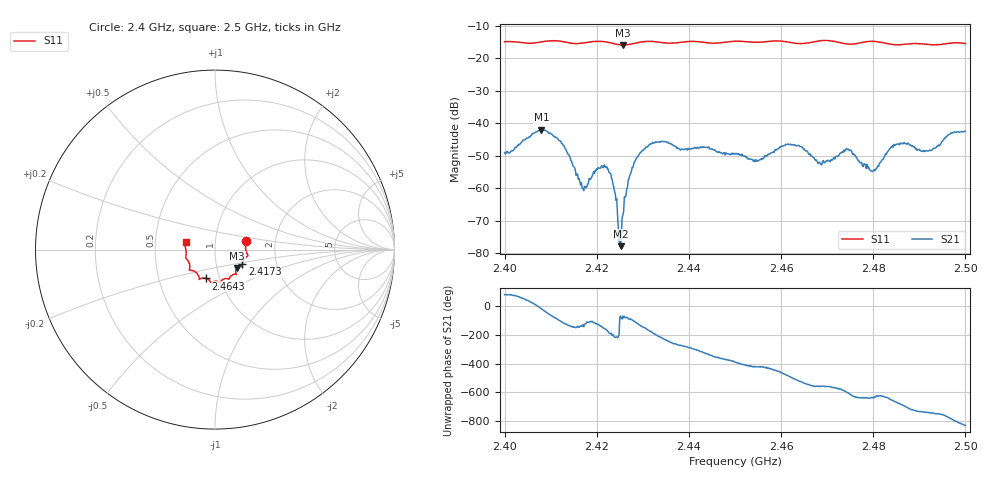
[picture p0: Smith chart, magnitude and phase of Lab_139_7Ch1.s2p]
# Hz S RI R 50
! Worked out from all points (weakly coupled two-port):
!   601 points, 2.4 GHz to 2.5 GHz, reference 50 ohm
!   highest |S21| = -41.97 dB at 2.408 GHz (marker M1); lowest = -77.8 dB at 2.4252 GHz (marker M2)
!   lowest |S11| = -15.9 dB at 2.4257 GHz (marker M3), VSWR 1.38, Z = 62.5 - j13.1 ohm
!   |S11| at or under -10 dB: start of sweep to end of sweep
!   S12 and S22 are empty: the file has one direction only
!   S11 on the Smith chart (normalised r, x): 2.4 GHz: 1.41, +0.14; 2.4173 GHz: 1.34, -0.23; 2.4643 GHz: 0.86, -0.28; 2.5 GHz: 0.72, +0.06
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2.4e9  0.1733 0.0492  0.000511 0.00349  0 0  0 0
2.408e9  0.1776 -0.0206  0.00761 -0.00238  0 0  0 0
2.4125e9  0.1772 -0.0385  -0.0017 -0.00455  0 0  0 0
2.416667e9  0.153 -0.0746  -0.000874 -0.00084  0 0  0 0
2.417333e9  0.1522 -0.082  -0.000604 -0.00088  0 0  0 0
2.422167e9  0.1507 -0.0947  -0.00208 -0.000536  0 0  0 0
2.423833e9  0.1382 -0.0944  -0.000755 0.000507  0 0  0 0
2.425167e9  0.1264 -0.0988  4.76e-05 -0.000119  0 0  0 0
2.425667e9  0.1228 -0.1022  0.000143 -0.000356  0 0  0 0
2.4265e9  0.1184 -0.1093  0.000191 -0.000956  0 0  0 0
2.428167e9  0.1149 -0.125  -0.000654 -0.00247  0 0  0 0
2.433333e9  0.1127 -0.1369  -0.00453 0.00244  0 0  0 0
2.45e9  0.0293 -0.1809  0.00302 -0.00168  0 0  0 0
2.4545e9  0.006 -0.1762  0.00129 -0.00244  0 0  0 0
2.464333e9  -0.0498 -0.1606  -0.00424 -0.00103  0 0  0 0
2.466667e9  -0.0759 -0.1596  -0.003 0.000793  0 0  0 0
2.469e9  -0.0876 -0.1662  -0.00242 0.00084  0 0  0 0
2.474667e9  -0.103 -0.1295  -0.00154 0.00368  0 0  0 0
2.479833e9  -0.1428 -0.1138  0.000206 0.0018  0 0  0 0
2.483333e9  -0.1405 -0.0899  0.000885 0.00374  0 0  0 0
2.492333e9  -0.161 -0.022  0.00353 -0.00156  0 0  0 0
2.5e9  -0.1632 0.0421  -0.00286 -0.00702  0 0  0 0
